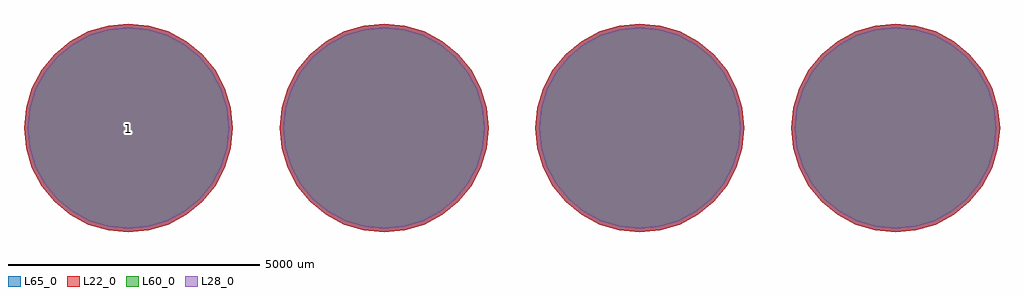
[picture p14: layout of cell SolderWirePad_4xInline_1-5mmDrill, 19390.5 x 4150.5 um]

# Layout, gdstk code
import gdstk
lib = gdstk.Library(unit=1e-6, precision=1e-09)
def P(c, l, *ps):  # polygons
    for p in ps: c.add(gdstk.Polygon(p, *l))
L22_0 = (22, 0)
L28_0 = (28, 0)
L60_0 = (60, 0)
L65_0 = (65, 0)

solderwirepad_4xinline_1 = lib.new_cell('SolderWirePad_4xInline_1-5mmDrill')
P(solderwirepad_4xinline_1, L22_0, [(9695.25,0),(9655.375,404.861),(9537.281,794.164),(9345.507,1152.947),(9087.423,1467.423),(8772.947,1725.507),(8414.164,1917.281),(8024.861,2035.375),(7620,2075.25),(7215.139,2035.375),(6825.836,1917.281),(6467.053,1725.507),(6152.577,1467.423),(5894.493,1152.947),(5702.719,794.164),(5584.625,404.861),(5544.75,0),(5584.625,-404.861),(5702.719,-794.164),(5894.493,-1152.947),(6152.577,-1467.423),(6467.053,-1725.507),(6825.836,-1917.281),(7215.139,-2035.375),(7620,-2075.25),(8024.861,-2035.375),(8414.164,-1917.281),(8772.947,-1725.507),(9087.423,-1467.423),(9345.507,-1152.947),(9537.281,-794.164),(9655.375,-404.861)],
  [(4615.25,0),(4575.375,404.861),(4457.281,794.164),(4265.507,1152.947),(4007.423,1467.423),(3692.947,1725.507),(3334.164,1917.281),(2944.861,2035.375),(2540,2075.25),(2135.139,2035.375),(1745.836,1917.281),(1387.053,1725.507),(1072.577,1467.423),(814.493,1152.947),(622.719,794.164),(504.625,404.861),(464.75,0),(504.625,-404.861),(622.719,-794.164),(814.493,-1152.947),(1072.577,-1467.423),(1387.053,-1725.507),(1745.836,-1917.281),(2135.139,-2035.375),(2540,-2075.25),(2944.861,-2035.375),(3334.164,-1917.281),(3692.947,-1725.507),(4007.423,-1467.423),(4265.507,-1152.947),(4457.281,-794.164),(4575.375,-404.861)],
  [(-464.75,0),(-504.625,404.861),(-622.719,794.164),(-814.493,1152.947),(-1072.577,1467.423),(-1387.053,1725.507),(-1745.836,1917.281),(-2135.139,2035.375),(-2540,2075.25),(-2944.861,2035.375),(-3334.164,1917.281),(-3692.947,1725.507),(-4007.423,1467.423),(-4265.507,1152.947),(-4457.281,794.164),(-4575.375,404.861),(-4615.25,0),(-4575.375,-404.861),(-4457.281,-794.164),(-4265.507,-1152.947),(-4007.423,-1467.423),(-3692.947,-1725.507),(-3334.164,-1917.281),(-2944.861,-2035.375),(-2540,-2075.25),(-2135.139,-2035.375),(-1745.836,-1917.281),(-1387.053,-1725.507),(-1072.577,-1467.423),(-814.493,-1152.947),(-622.719,-794.164),(-504.625,-404.861)],
  [(-5544.75,0),(-5584.625,404.861),(-5702.719,794.164),(-5894.493,1152.947),(-6152.577,1467.423),(-6467.053,1725.507),(-6825.836,1917.281),(-7215.139,2035.375),(-7620,2075.25),(-8024.861,2035.375),(-8414.164,1917.281),(-8772.947,1725.507),(-9087.423,1467.423),(-9345.507,1152.947),(-9537.281,794.164),(-9655.375,404.861),(-9695.25,0),(-9655.375,-404.861),(-9537.281,-794.164),(-9345.507,-1152.947),(-9087.423,-1467.423),(-8772.947,-1725.507),(-8414.164,-1917.281),(-8024.861,-2035.375),(-7620,-2075.25),(-7215.139,-2035.375),(-6825.836,-1917.281),(-6467.053,-1725.507),(-6152.577,-1467.423),(-5894.493,-1152.947),(-5702.719,-794.164),(-5584.625,-404.861)])
P(solderwirepad_4xinline_1, L28_0, [(9620.25,0),(9581.816,390.229),(9467.99,765.463),(9283.147,1111.279),(9034.39,1414.39),(8731.279,1663.147),(8385.463,1847.99),(8010.229,1961.816),(7620,2000.25),(7229.771,1961.816),(6854.537,1847.99),(6508.721,1663.147),(6205.61,1414.39),(5956.853,1111.279),(5772.01,765.463),(5658.184,390.229),(5619.75,0),(5658.184,-390.229),(5772.01,-765.463),(5956.853,-1111.279),(6205.61,-1414.39),(6508.721,-1663.147),(6854.537,-1847.99),(7229.771,-1961.816),(7620,-2000.25),(8010.229,-1961.816),(8385.463,-1847.99),(8731.279,-1663.147),(9034.39,-1414.39),(9283.147,-1111.279),(9467.99,-765.463),(9581.816,-390.229)],
  [(4540.25,0),(4501.816,390.229),(4387.99,765.463),(4203.147,1111.279),(3954.39,1414.39),(3651.279,1663.147),(3305.463,1847.99),(2930.229,1961.816),(2540,2000.25),(2149.771,1961.816),(1774.537,1847.99),(1428.721,1663.147),(1125.61,1414.39),(876.853,1111.279),(692.01,765.463),(578.184,390.229),(539.75,0),(578.184,-390.229),(692.01,-765.463),(876.853,-1111.279),(1125.61,-1414.39),(1428.721,-1663.147),(1774.537,-1847.99),(2149.771,-1961.816),(2540,-2000.25),(2930.229,-1961.816),(3305.463,-1847.99),(3651.279,-1663.147),(3954.39,-1414.39),(4203.147,-1111.279),(4387.99,-765.463),(4501.816,-390.229)],
  [(-539.75,0),(-578.184,390.229),(-692.01,765.463),(-876.853,1111.279),(-1125.61,1414.39),(-1428.721,1663.147),(-1774.537,1847.99),(-2149.771,1961.816),(-2540,2000.25),(-2930.229,1961.816),(-3305.463,1847.99),(-3651.279,1663.147),(-3954.39,1414.39),(-4203.147,1111.279),(-4387.99,765.463),(-4501.816,390.229),(-4540.25,0),(-4501.816,-390.229),(-4387.99,-765.463),(-4203.147,-1111.279),(-3954.39,-1414.39),(-3651.279,-1663.147),(-3305.463,-1847.99),(-2930.229,-1961.816),(-2540,-2000.25),(-2149.771,-1961.816),(-1774.537,-1847.99),(-1428.721,-1663.147),(-1125.61,-1414.39),(-876.853,-1111.279),(-692.01,-765.463),(-578.184,-390.229)],
  [(-5619.75,0),(-5658.184,390.229),(-5772.01,765.463),(-5956.853,1111.279),(-6205.61,1414.39),(-6508.721,1663.147),(-6854.537,1847.99),(-7229.771,1961.816),(-7620,2000.25),(-8010.229,1961.816),(-8385.463,1847.99),(-8731.279,1663.147),(-9034.39,1414.39),(-9283.147,1111.279),(-9467.99,765.463),(-9581.816,390.229),(-9620.25,0),(-9581.816,-390.229),(-9467.99,-765.463),(-9283.147,-1111.279),(-9034.39,-1414.39),(-8731.279,-1663.147),(-8385.463,-1847.99),(-8010.229,-1961.816),(-7620,-2000.25),(-7229.771,-1961.816),(-6854.537,-1847.99),(-6508.721,-1663.147),(-6205.61,-1414.39),(-5956.853,-1111.279),(-5772.01,-765.463),(-5658.184,-390.229)])
P(solderwirepad_4xinline_1, L60_0, [(9620.25,0),(9581.816,390.229),(9467.99,765.463),(9283.147,1111.279),(9034.39,1414.39),(8731.279,1663.147),(8385.463,1847.99),(8010.229,1961.816),(7620,2000.25),(7229.771,1961.816),(6854.537,1847.99),(6508.721,1663.147),(6205.61,1414.39),(5956.853,1111.279),(5772.01,765.463),(5658.184,390.229),(5619.75,0),(5658.184,-390.229),(5772.01,-765.463),(5956.853,-1111.279),(6205.61,-1414.39),(6508.721,-1663.147),(6854.537,-1847.99),(7229.771,-1961.816),(7620,-2000.25),(8010.229,-1961.816),(8385.463,-1847.99),(8731.279,-1663.147),(9034.39,-1414.39),(9283.147,-1111.279),(9467.99,-765.463),(9581.816,-390.229)],
  [(4540.25,0),(4501.816,390.229),(4387.99,765.463),(4203.147,1111.279),(3954.39,1414.39),(3651.279,1663.147),(3305.463,1847.99),(2930.229,1961.816),(2540,2000.25),(2149.771,1961.816),(1774.537,1847.99),(1428.721,1663.147),(1125.61,1414.39),(876.853,1111.279),(692.01,765.463),(578.184,390.229),(539.75,0),(578.184,-390.229),(692.01,-765.463),(876.853,-1111.279),(1125.61,-1414.39),(1428.721,-1663.147),(1774.537,-1847.99),(2149.771,-1961.816),(2540,-2000.25),(2930.229,-1961.816),(3305.463,-1847.99),(3651.279,-1663.147),(3954.39,-1414.39),(4203.147,-1111.279),(4387.99,-765.463),(4501.816,-390.229)],
  [(-539.75,0),(-578.184,390.229),(-692.01,765.463),(-876.853,1111.279),(-1125.61,1414.39),(-1428.721,1663.147),(-1774.537,1847.99),(-2149.771,1961.816),(-2540,2000.25),(-2930.229,1961.816),(-3305.463,1847.99),(-3651.279,1663.147),(-3954.39,1414.39),(-4203.147,1111.279),(-4387.99,765.463),(-4501.816,390.229),(-4540.25,0),(-4501.816,-390.229),(-4387.99,-765.463),(-4203.147,-1111.279),(-3954.39,-1414.39),(-3651.279,-1663.147),(-3305.463,-1847.99),(-2930.229,-1961.816),(-2540,-2000.25),(-2149.771,-1961.816),(-1774.537,-1847.99),(-1428.721,-1663.147),(-1125.61,-1414.39),(-876.853,-1111.279),(-692.01,-765.463),(-578.184,-390.229)],
  [(-5619.75,0),(-5658.184,390.229),(-5772.01,765.463),(-5956.853,1111.279),(-6205.61,1414.39),(-6508.721,1663.147),(-6854.537,1847.99),(-7229.771,1961.816),(-7620,2000.25),(-8010.229,1961.816),(-8385.463,1847.99),(-8731.279,1663.147),(-9034.39,1414.39),(-9283.147,1111.279),(-9467.99,765.463),(-9581.816,390.229),(-9620.25,0),(-9581.816,-390.229),(-9467.99,-765.463),(-9283.147,-1111.279),(-9034.39,-1414.39),(-8731.279,-1663.147),(-8385.463,-1847.99),(-8010.229,-1961.816),(-7620,-2000.25),(-7229.771,-1961.816),(-6854.537,-1847.99),(-6508.721,-1663.147),(-6205.61,-1414.39),(-5956.853,-1111.279),(-5772.01,-765.463),(-5658.184,-390.229)])
P(solderwirepad_4xinline_1, L65_0, [(9695.25,0),(9655.375,404.861),(9537.281,794.164),(9345.507,1152.947),(9087.423,1467.423),(8772.947,1725.507),(8414.164,1917.281),(8024.861,2035.375),(7620,2075.25),(7215.139,2035.375),(6825.836,1917.281),(6467.053,1725.507),(6152.577,1467.423),(5894.493,1152.947),(5702.719,794.164),(5584.625,404.861),(5544.75,0),(5584.625,-404.861),(5702.719,-794.164),(5894.493,-1152.947),(6152.577,-1467.423),(6467.053,-1725.507),(6825.836,-1917.281),(7215.139,-2035.375),(7620,-2075.25),(8024.861,-2035.375),(8414.164,-1917.281),(8772.947,-1725.507),(9087.423,-1467.423),(9345.507,-1152.947),(9537.281,-794.164),(9655.375,-404.861)],
  [(4615.25,0),(4575.375,404.861),(4457.281,794.164),(4265.507,1152.947),(4007.423,1467.423),(3692.947,1725.507),(3334.164,1917.281),(2944.861,2035.375),(2540,2075.25),(2135.139,2035.375),(1745.836,1917.281),(1387.053,1725.507),(1072.577,1467.423),(814.493,1152.947),(622.719,794.164),(504.625,404.861),(464.75,0),(504.625,-404.861),(622.719,-794.164),(814.493,-1152.947),(1072.577,-1467.423),(1387.053,-1725.507),(1745.836,-1917.281),(2135.139,-2035.375),(2540,-2075.25),(2944.861,-2035.375),(3334.164,-1917.281),(3692.947,-1725.507),(4007.423,-1467.423),(4265.507,-1152.947),(4457.281,-794.164),(4575.375,-404.861)],
  [(-464.75,0),(-504.625,404.861),(-622.719,794.164),(-814.493,1152.947),(-1072.577,1467.423),(-1387.053,1725.507),(-1745.836,1917.281),(-2135.139,2035.375),(-2540,2075.25),(-2944.861,2035.375),(-3334.164,1917.281),(-3692.947,1725.507),(-4007.423,1467.423),(-4265.507,1152.947),(-4457.281,794.164),(-4575.375,404.861),(-4615.25,0),(-4575.375,-404.861),(-4457.281,-794.164),(-4265.507,-1152.947),(-4007.423,-1467.423),(-3692.947,-1725.507),(-3334.164,-1917.281),(-2944.861,-2035.375),(-2540,-2075.25),(-2135.139,-2035.375),(-1745.836,-1917.281),(-1387.053,-1725.507),(-1072.577,-1467.423),(-814.493,-1152.947),(-622.719,-794.164),(-504.625,-404.861)],
  [(-5544.75,0),(-5584.625,404.861),(-5702.719,794.164),(-5894.493,1152.947),(-6152.577,1467.423),(-6467.053,1725.507),(-6825.836,1917.281),(-7215.139,2035.375),(-7620,2075.25),(-8024.861,2035.375),(-8414.164,1917.281),(-8772.947,1725.507),(-9087.423,1467.423),(-9345.507,1152.947),(-9537.281,794.164),(-9655.375,404.861),(-9695.25,0),(-9655.375,-404.861),(-9537.281,-794.164),(-9345.507,-1152.947),(-9087.423,-1467.423),(-8772.947,-1725.507),(-8414.164,-1917.281),(-8024.861,-2035.375),(-7620,-2075.25),(-7215.139,-2035.375),(-6825.836,-1917.281),(-6467.053,-1725.507),(-6152.577,-1467.423),(-5894.493,-1152.947),(-5702.719,-794.164),(-5584.625,-404.861)])
solderwirepad_4xinline_1.add(gdstk.Label('1', (-7620,0), layer=28, texttype=0))
solderwirepad_4xinline_1.add(gdstk.Label('type', (0,-3810), layer=9, texttype=0))
solderwirepad_4xinline_1.add(gdstk.Label('devicename', (0,3810), layer=9, texttype=0))

lib.write_gds('SolderWirePad_4xInline_1-5mmDrill.gds')
